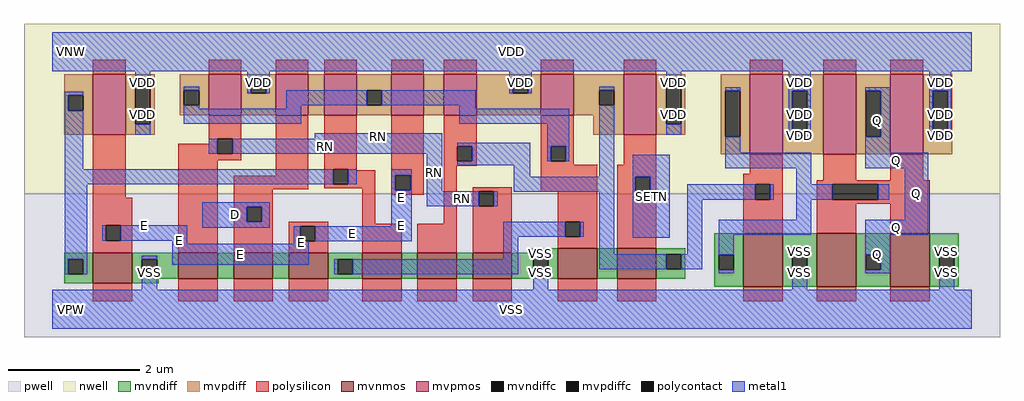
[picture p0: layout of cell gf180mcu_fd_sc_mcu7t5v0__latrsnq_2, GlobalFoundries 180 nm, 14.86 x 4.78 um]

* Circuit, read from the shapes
.subckt gf180mcu_fd_sc_mcu7t5v0__latrsnq_2 D E RN SETN Q VDD VNW VPW VSS
XM1 VSS E n1 VPW nfet_06v0 w=0.465u l=0.6u
XM2 n2 RN VSS VPW nfet_06v0 w=0.395u l=0.6u
XM3 n3 D n2 VPW nfet_06v0 w=0.395u l=0.6u
XM4 n4 E n3 VPW nfet_06v0 w=0.395u l=0.6u
XM5 n5 n1 n4 VPW nfet_06v0 w=0.395u l=0.6u
XM6 n6 n7 n5 VPW nfet_06v0 w=0.395u l=0.6u
XM7 VSS RN n6 VPW nfet_06v0 w=0.395u l=0.6u
XM8 n8 n4 VSS VPW nfet_06v0 w=0.465u l=0.6u
XM9 n7 SETN n8 VPW nfet_06v0 w=0.465u l=0.6u
XM10 VSS n7 n9 VPW nfet_06v0 w=0.82u l=0.6u
XM11 Q n9 VSS VPW nfet_06v0 w=0.82u l=0.6u m=2
XM12 VDD E n1 VNW pfet_06v0 w=0.925u l=0.5u
XM13 VDD RN n4 VNW pfet_06v0 w=0.63u l=0.5u
XM14 n10 D VDD VNW pfet_06v0 w=0.63u l=0.5u
XM15 n4 n1 n10 VNW pfet_06v0 w=0.63u l=0.5u
XM16 n11 E n4 VNW pfet_06v0 w=0.63u l=0.5u
XM17 VDD n7 n11 VNW pfet_06v0 w=0.63u l=0.5u
XM18 n7 n4 VDD VNW pfet_06v0 w=0.63u l=0.5u
XM19 VDD SETN n7 VNW pfet_06v0 w=0.925u l=0.5u
XM20 VDD n7 n9 VNW pfet_06v0 w=1.22u l=0.5u
XM21 Q n9 VDD VNW pfet_06v0 w=1.22u l=0.5u m=2
.ends

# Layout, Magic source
magic
tech gf180mcuD
magscale 1 10
<< nwell >>
rect -86 352 2886 870
<< pwell >>
rect -86 -86 2886 352
<< mvnmos >>
rect 124 79 244 172
rect 384 93 504 172
rect 552 93 672 172
rect 720 93 840 172
rect 944 93 1064 172
rect 1112 93 1232 172
rect 1280 93 1400 172
rect 1540 93 1660 186
rect 1720 93 1840 186
rect 2104 68 2224 232
rect 2328 68 2448 232
rect 2552 68 2672 232
<< mvpmos >>
rect 124 531 224 716
rect 476 590 576 716
rect 680 590 780 716
rect 828 590 928 716
rect 1032 590 1132 716
rect 1192 590 1292 716
rect 1488 590 1588 716
rect 1740 531 1840 716
rect 2124 472 2224 716
rect 2348 472 2448 716
rect 2552 472 2652 716
<< mvndiff >>
rect 1460 172 1540 186
rect 36 152 124 172
rect 36 106 49 152
rect 95 106 124 152
rect 36 79 124 106
rect 244 152 384 172
rect 244 106 273 152
rect 319 106 384 152
rect 244 93 384 106
rect 504 93 552 172
rect 672 93 720 172
rect 840 152 944 172
rect 840 106 869 152
rect 915 106 944 152
rect 840 93 944 106
rect 1064 93 1112 172
rect 1232 93 1280 172
rect 1400 158 1540 172
rect 1400 112 1465 158
rect 1511 112 1540 158
rect 1400 93 1540 112
rect 1660 93 1720 186
rect 1840 167 1928 186
rect 1840 121 1869 167
rect 1915 121 1928 167
rect 1840 93 1928 121
rect 2016 166 2104 232
rect 2016 120 2029 166
rect 2075 120 2104 166
rect 244 79 324 93
rect 2016 68 2104 120
rect 2224 166 2328 232
rect 2224 120 2253 166
rect 2299 120 2328 166
rect 2224 68 2328 120
rect 2448 166 2552 232
rect 2448 120 2477 166
rect 2523 120 2552 166
rect 2448 68 2552 120
rect 2672 166 2760 232
rect 2672 120 2701 166
rect 2747 120 2760 166
rect 2672 68 2760 120
<< mvpdiff >>
rect 36 651 124 716
rect 36 605 49 651
rect 95 605 124 651
rect 36 531 124 605
rect 224 703 312 716
rect 224 563 253 703
rect 299 563 312 703
rect 388 667 476 716
rect 388 621 401 667
rect 447 621 476 667
rect 388 590 476 621
rect 576 703 680 716
rect 576 657 605 703
rect 651 657 680 703
rect 576 590 680 657
rect 780 590 828 716
rect 928 667 1032 716
rect 928 621 957 667
rect 1003 621 1032 667
rect 928 590 1032 621
rect 1132 590 1192 716
rect 1292 703 1488 716
rect 1292 657 1403 703
rect 1449 657 1488 703
rect 1292 590 1488 657
rect 1588 667 1740 716
rect 1588 621 1665 667
rect 1711 621 1740 667
rect 1588 590 1740 621
rect 224 531 312 563
rect 1648 531 1740 590
rect 1840 703 1928 716
rect 1840 563 1869 703
rect 1915 563 1928 703
rect 1840 531 1928 563
rect 2036 665 2124 716
rect 2036 525 2049 665
rect 2095 525 2124 665
rect 2036 472 2124 525
rect 2224 666 2348 716
rect 2224 526 2253 666
rect 2299 526 2348 666
rect 2224 472 2348 526
rect 2448 665 2552 716
rect 2448 525 2477 665
rect 2523 525 2552 665
rect 2448 472 2552 525
rect 2652 666 2740 716
rect 2652 526 2681 666
rect 2727 526 2740 666
rect 2652 472 2740 526
<< mvndiffc >>
rect 49 106 95 152
rect 273 106 319 152
rect 869 106 915 152
rect 1465 112 1511 158
rect 1869 121 1915 167
rect 2029 120 2075 166
rect 2253 120 2299 166
rect 2477 120 2523 166
rect 2701 120 2747 166
<< mvpdiffc >>
rect 49 605 95 651
rect 253 563 299 703
rect 401 621 447 667
rect 605 657 651 703
rect 957 621 1003 667
rect 1403 657 1449 703
rect 1665 621 1711 667
rect 1869 563 1915 703
rect 2049 525 2095 665
rect 2253 526 2299 666
rect 2477 525 2523 665
rect 2681 526 2727 666
<< polysilicon >>
rect 124 716 224 760
rect 476 716 576 760
rect 680 716 780 760
rect 828 716 928 760
rect 1032 716 1132 760
rect 1192 716 1292 760
rect 1488 716 1588 760
rect 1740 716 1840 760
rect 2124 716 2224 760
rect 2348 716 2448 760
rect 2552 716 2652 760
rect 124 340 224 531
rect 476 519 576 590
rect 476 504 503 519
rect 384 473 503 504
rect 549 473 576 519
rect 384 454 576 473
rect 124 255 244 340
rect 124 209 163 255
rect 209 209 244 255
rect 124 172 244 209
rect 384 172 504 454
rect 680 406 780 590
rect 552 366 780 406
rect 828 427 928 590
rect 828 381 855 427
rect 901 423 928 427
rect 901 381 984 423
rect 828 368 984 381
rect 552 312 672 366
rect 552 266 592 312
rect 638 266 672 312
rect 552 172 672 266
rect 720 253 840 266
rect 720 207 755 253
rect 801 207 840 253
rect 720 172 840 207
rect 944 260 984 368
rect 1032 408 1132 590
rect 1032 362 1045 408
rect 1091 362 1132 408
rect 1032 349 1132 362
rect 1192 496 1292 590
rect 1192 450 1233 496
rect 1279 450 1292 496
rect 1192 437 1292 450
rect 1488 496 1588 590
rect 1488 450 1518 496
rect 1564 450 1588 496
rect 1488 440 1588 450
rect 1740 440 1840 531
rect 1192 260 1232 437
rect 944 172 1064 260
rect 1112 172 1232 260
rect 1280 359 1400 372
rect 1280 313 1299 359
rect 1345 313 1400 359
rect 1488 358 1660 440
rect 1280 172 1400 313
rect 1540 267 1660 358
rect 1540 221 1562 267
rect 1608 221 1660 267
rect 1540 186 1660 221
rect 1720 404 1840 440
rect 2124 412 2224 472
rect 1720 358 1775 404
rect 1821 358 1840 404
rect 1720 186 1840 358
rect 2104 380 2224 412
rect 2348 393 2448 472
rect 2552 393 2652 472
rect 2104 334 2140 380
rect 2186 334 2224 380
rect 2104 232 2224 334
rect 2328 380 2672 393
rect 2328 334 2375 380
rect 2515 334 2672 380
rect 2328 321 2672 334
rect 2328 232 2448 321
rect 2552 232 2672 321
rect 124 24 244 79
rect 384 24 504 93
rect 552 24 672 93
rect 720 24 840 93
rect 944 24 1064 93
rect 1112 24 1232 93
rect 1280 24 1400 93
rect 1540 24 1660 93
rect 1720 24 1840 93
rect 2104 24 2224 68
rect 2328 24 2448 68
rect 2552 24 2672 68
<< polycontact >>
rect 503 473 549 519
rect 163 209 209 255
rect 855 381 901 427
rect 592 266 638 312
rect 755 207 801 253
rect 1045 362 1091 408
rect 1233 450 1279 496
rect 1518 450 1564 496
rect 1299 313 1345 359
rect 1562 221 1608 267
rect 1775 358 1821 404
rect 2140 334 2186 380
rect 2375 334 2515 380
<< metal1 >>
rect 0 724 2800 844
rect 253 703 299 724
rect 38 651 95 662
rect 38 605 49 651
rect 38 427 95 605
rect 594 703 662 724
rect 401 667 447 678
rect 594 657 605 703
rect 651 657 662 703
rect 1392 703 1460 724
rect 401 611 447 621
rect 712 621 957 667
rect 1003 621 1289 667
rect 1392 657 1403 703
rect 1449 657 1460 703
rect 1869 703 1915 724
rect 1665 667 1711 678
rect 712 611 758 621
rect 401 565 758 611
rect 1239 611 1289 621
rect 1239 565 1575 611
rect 253 531 299 563
rect 800 519 1187 536
rect 476 473 503 519
rect 549 473 1187 519
rect 38 381 855 427
rect 901 381 928 427
rect 1032 408 1095 427
rect 38 152 106 381
rect 1032 362 1045 408
rect 1091 362 1095 408
rect 457 312 662 326
rect 457 266 592 312
rect 638 266 662 312
rect 152 209 163 255
rect 209 209 411 255
rect 457 248 662 266
rect 1032 253 1095 362
rect 1141 359 1187 473
rect 1233 496 1456 507
rect 1279 450 1456 496
rect 1507 496 1575 565
rect 1507 450 1518 496
rect 1564 450 1575 496
rect 1233 439 1456 450
rect 1406 404 1456 439
rect 1665 404 1711 621
rect 1869 531 1915 563
rect 2049 665 2095 676
rect 2242 666 2310 724
rect 2242 526 2253 666
rect 2299 526 2310 666
rect 2476 665 2552 676
rect 2049 476 2095 525
rect 2476 525 2477 665
rect 2523 525 2552 665
rect 2670 666 2738 724
rect 2670 526 2681 666
rect 2727 526 2738 666
rect 2476 476 2552 525
rect 1141 313 1299 359
rect 1345 313 1356 359
rect 1406 358 1711 404
rect 365 200 411 209
rect 735 207 755 253
rect 801 207 1095 253
rect 1373 221 1562 267
rect 1608 221 1619 267
rect 735 200 781 207
rect 38 106 49 152
rect 95 106 106 152
rect 273 152 319 163
rect 365 136 781 200
rect 1373 152 1419 221
rect 858 106 869 152
rect 915 106 1419 152
rect 1465 158 1511 175
rect 1665 167 1711 358
rect 1768 404 1880 471
rect 2049 430 2311 476
rect 2476 430 2668 476
rect 1768 358 1775 404
rect 1821 358 1880 404
rect 2265 380 2311 430
rect 1768 217 1880 358
rect 1933 334 2140 380
rect 2186 334 2197 380
rect 2265 334 2375 380
rect 2515 334 2549 380
rect 1933 167 1979 334
rect 2265 273 2311 334
rect 2596 273 2668 430
rect 1665 121 1869 167
rect 1915 121 1979 167
rect 2029 227 2311 273
rect 2476 227 2668 273
rect 2029 166 2075 227
rect 273 60 319 106
rect 1465 60 1511 112
rect 2029 109 2075 120
rect 2253 166 2299 177
rect 2253 60 2299 120
rect 2476 166 2552 227
rect 2476 120 2477 166
rect 2523 120 2552 166
rect 2476 109 2552 120
rect 2701 166 2747 177
rect 2701 60 2747 120
rect 0 -60 2800 60
<< labels >>
flabel metal1 s 800 519 1187 536 0 FreeSans 400 0 0 0 RN
port 3 nsew default input
flabel metal1 s 1768 217 1880 471 0 FreeSans 400 0 0 0 SETN
port 4 nsew default input
flabel metal1 s 2476 476 2552 676 0 FreeSans 400 0 0 0 Q
port 5 nsew default output
flabel metal1 s 457 248 662 326 0 FreeSans 400 0 0 0 D
port 1 nsew default input
flabel metal1 s 2701 175 2747 177 0 FreeSans 400 0 0 0 VSS
port 9 nsew ground bidirectional abutment
flabel metal1 s 0 724 2800 844 0 FreeSans 400 0 0 0 VDD
port 6 nsew power bidirectional abutment
flabel metal1 s 1032 255 1095 427 0 FreeSans 400 0 0 0 E
port 2 nsew clock input
flabel nwell s 10 734 110 834 0 FreeSans 400 0 0 0 VNW
port 7 nsew power bidirectional
flabel pwell s 10 -50 110 50 0 FreeSans 400 0 0 0 VPW
port 8 nsew ground bidirectional
rlabel metal1 s 1032 253 1095 255 1 E
port 2 nsew clock input
rlabel metal1 s 152 253 411 255 1 E
port 2 nsew clock input
rlabel metal1 s 735 209 1095 253 1 E
port 2 nsew clock input
rlabel metal1 s 152 209 411 253 1 E
port 2 nsew clock input
rlabel metal1 s 735 207 1095 209 1 E
port 2 nsew clock input
rlabel metal1 s 365 207 411 209 1 E
port 2 nsew clock input
rlabel metal1 s 735 200 781 207 1 E
port 2 nsew clock input
rlabel metal1 s 365 200 411 207 1 E
port 2 nsew clock input
rlabel metal1 s 365 136 781 200 1 E
port 2 nsew clock input
rlabel metal1 s 476 473 1187 519 1 RN
port 3 nsew default input
rlabel metal1 s 1141 359 1187 473 1 RN
port 3 nsew default input
rlabel metal1 s 1141 313 1356 359 1 RN
port 3 nsew default input
rlabel metal1 s 2476 430 2668 476 1 Q
port 5 nsew default output
rlabel metal1 s 2596 273 2668 430 1 Q
port 5 nsew default output
rlabel metal1 s 2476 227 2668 273 1 Q
port 5 nsew default output
rlabel metal1 s 2476 109 2552 227 1 Q
port 5 nsew default output
rlabel metal1 s 2670 657 2738 724 1 VDD
port 6 nsew power bidirectional abutment
rlabel metal1 s 2242 657 2310 724 1 VDD
port 6 nsew power bidirectional abutment
rlabel metal1 s 1869 657 1915 724 1 VDD
port 6 nsew power bidirectional abutment
rlabel metal1 s 1392 657 1460 724 1 VDD
port 6 nsew power bidirectional abutment
rlabel metal1 s 594 657 662 724 1 VDD
port 6 nsew power bidirectional abutment
rlabel metal1 s 253 657 299 724 1 VDD
port 6 nsew power bidirectional abutment
rlabel metal1 s 2670 531 2738 657 1 VDD
port 6 nsew power bidirectional abutment
rlabel metal1 s 2242 531 2310 657 1 VDD
port 6 nsew power bidirectional abutment
rlabel metal1 s 1869 531 1915 657 1 VDD
port 6 nsew power bidirectional abutment
rlabel metal1 s 253 531 299 657 1 VDD
port 6 nsew power bidirectional abutment
rlabel metal1 s 2670 526 2738 531 1 VDD
port 6 nsew power bidirectional abutment
rlabel metal1 s 2242 526 2310 531 1 VDD
port 6 nsew power bidirectional abutment
rlabel metal1 s 2253 175 2299 177 1 VSS
port 9 nsew ground bidirectional abutment
rlabel metal1 s 2701 163 2747 175 1 VSS
port 9 nsew ground bidirectional abutment
rlabel metal1 s 2253 163 2299 175 1 VSS
port 9 nsew ground bidirectional abutment
rlabel metal1 s 1465 163 1511 175 1 VSS
port 9 nsew ground bidirectional abutment
rlabel metal1 s 2701 60 2747 163 1 VSS
port 9 nsew ground bidirectional abutment
rlabel metal1 s 2253 60 2299 163 1 VSS
port 9 nsew ground bidirectional abutment
rlabel metal1 s 1465 60 1511 163 1 VSS
port 9 nsew ground bidirectional abutment
rlabel metal1 s 273 60 319 163 1 VSS
port 9 nsew ground bidirectional abutment
rlabel metal1 s 0 -60 2800 60 1 VSS
port 9 nsew ground bidirectional abutment
<< properties >>
string FIXED_BBOX 0 0 2800 784
string GDS_END 632414
string GDS_FILE $PDKPATH/libs.ref/gf180mcu_fd_sc_mcu7t5v0/gds/gf180mcu_fd_sc_mcu7t5v0.gds
string GDS_START 625342
string LEFclass core
string LEFsite GF018hv5v_mcu_sc7
string LEFsymmetry X Y
<< end >>
